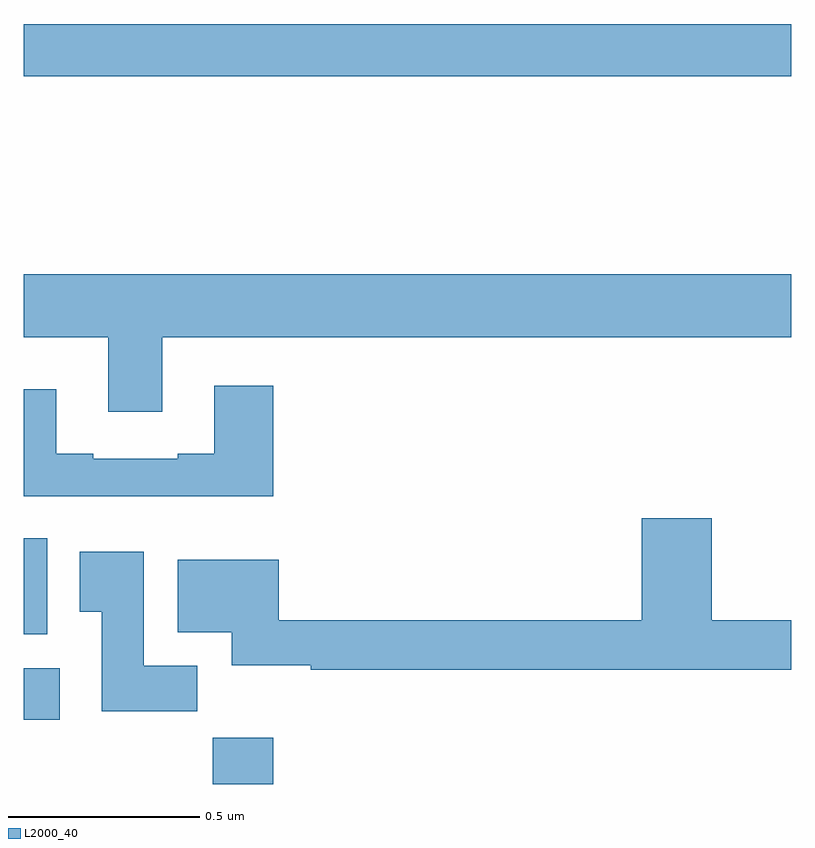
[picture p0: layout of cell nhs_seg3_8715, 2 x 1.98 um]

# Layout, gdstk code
import gdstk
lib = gdstk.Library(unit=1e-6, precision=1e-09)
def R(c, l, rs):  # rectangles x0, y0, x1, y1
    for r in rs: c.add(gdstk.rectangle(r[:2], r[2:], *l))
def P(c, l, *ps):  # polygons
    for p in ps: c.add(gdstk.Polygon(p, *l))
L2000_40 = (2000, 40)

nhs_seg3_8715 = lib.new_cell('nhs_seg3_8715')
R(nhs_seg3_8715, L2000_40, [(219.493,718.4,219.65,718.52), (219,718.568,219.094,718.702), (219,718.79,219.061,719.04), (219,720.244,221,720.38)])
P(nhs_seg3_8715, L2000_40, [(219.361,719.564),(221,719.564),(221,719.728),(219,719.728),(219,719.564),(219.221,719.564),(219.221,719.37),(219.361,719.37)],
  [(219.65,719.437),(219.497,719.437),(219.497,719.26),(219.401,719.26),(219.401,719.247),(219.181,719.247),(219.181,719.26),(219.085,719.26),(219.085,719.428),(219,719.428),(219,719.15),(219.65,719.15)],
  [(221,718.826),(220.793,718.826),(220.793,719.092),(220.61,719.092),(220.61,718.826),(219.665,718.826),(219.665,718.984),(219.401,718.984),(219.401,718.796),(219.542,718.796),(219.542,718.709),(219.748,718.709),(219.748,718.698),(221,718.698)],
  [(219.452,718.708),(219.313,718.708),(219.313,719.005),(219.146,719.005),(219.146,718.849),(219.203,718.849),(219.203,718.59),(219.452,718.59)])

lib.write_gds('nhs_seg3_8715.gds')
